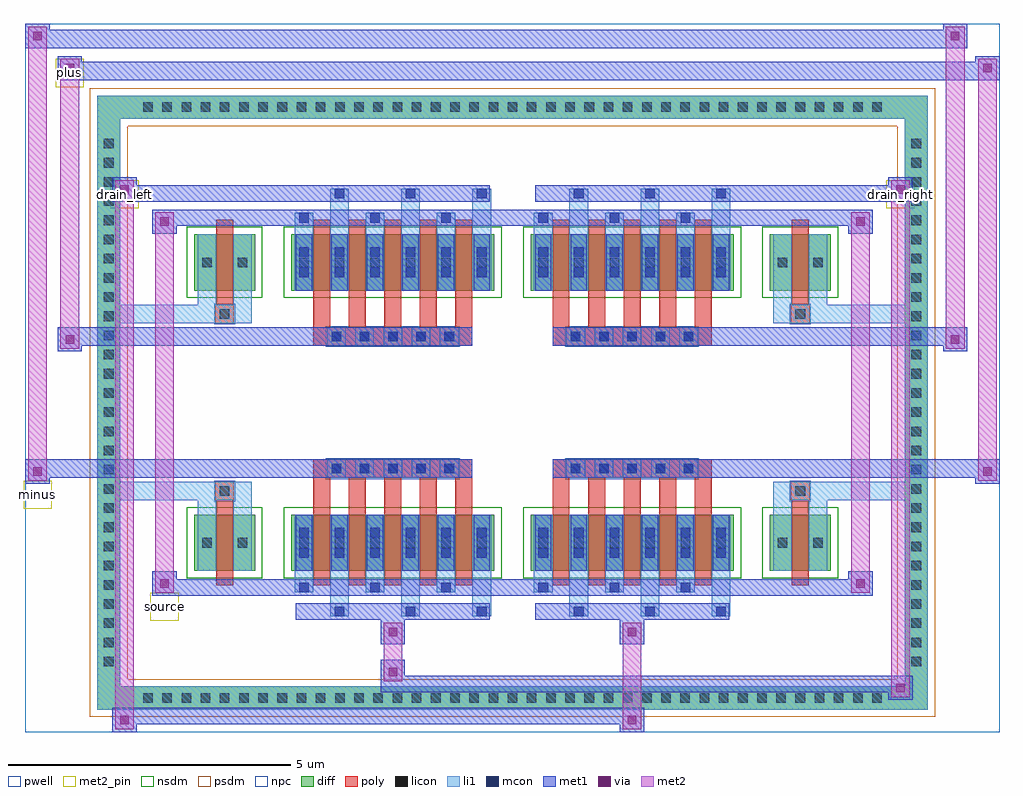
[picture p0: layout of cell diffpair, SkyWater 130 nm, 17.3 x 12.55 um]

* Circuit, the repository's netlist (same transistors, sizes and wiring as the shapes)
* NGSPICE file created from diffpair.ext - technology: sky130A

.subckt diffpair minus drain_right drain_left source plus
X0 drain_left plus source a_n1472_n1088# sky130_fd_pr__nfet_01v8 ad=0.165 pd=1.33 as=0.165 ps=1.33 w=1 l=0.3
X1 drain_right minus source a_n1472_n1088# sky130_fd_pr__nfet_01v8 ad=0.165 pd=1.33 as=0.165 ps=1.33 w=1 l=0.3
X2 a_n1472_n1088# a_n1472_n1088# a_n1472_n1088# a_n1472_n1088# sky130_fd_pr__nfet_01v8 ad=0.39 pd=2.78 as=3.12 ps=22.24 w=1 l=0.3
X3 drain_right minus source a_n1472_n1088# sky130_fd_pr__nfet_01v8 ad=0.165 pd=1.33 as=0.165 ps=1.33 w=1 l=0.3
X4 source plus drain_left a_n1472_n1088# sky130_fd_pr__nfet_01v8 ad=0.165 pd=1.33 as=0.165 ps=1.33 w=1 l=0.3
X5 drain_left plus source a_n1472_n1088# sky130_fd_pr__nfet_01v8 ad=0.39 pd=2.78 as=0.165 ps=1.33 w=1 l=0.3
X6 source minus drain_right a_n1472_n1088# sky130_fd_pr__nfet_01v8 ad=0.165 pd=1.33 as=0.165 ps=1.33 w=1 l=0.3
X7 drain_left plus source a_n1472_n1088# sky130_fd_pr__nfet_01v8 ad=0.39 pd=2.78 as=0.165 ps=1.33 w=1 l=0.3
X8 drain_right minus source a_n1472_n1088# sky130_fd_pr__nfet_01v8 ad=0.165 pd=1.33 as=0.39 ps=2.78 w=1 l=0.3
X9 drain_left plus source a_n1472_n1088# sky130_fd_pr__nfet_01v8 ad=0.165 pd=1.33 as=0.39 ps=2.78 w=1 l=0.3
X10 source plus drain_left a_n1472_n1088# sky130_fd_pr__nfet_01v8 ad=0.165 pd=1.33 as=0.165 ps=1.33 w=1 l=0.3
X11 a_n1472_n1088# a_n1472_n1088# a_n1472_n1088# a_n1472_n1088# sky130_fd_pr__nfet_01v8 ad=0.39 pd=2.78 as=0 ps=0 w=1 l=0.3
X12 drain_left plus source a_n1472_n1088# sky130_fd_pr__nfet_01v8 ad=0.165 pd=1.33 as=0.39 ps=2.78 w=1 l=0.3
X13 source minus drain_right a_n1472_n1088# sky130_fd_pr__nfet_01v8 ad=0.165 pd=1.33 as=0.165 ps=1.33 w=1 l=0.3
X14 a_n1472_n1088# a_n1472_n1088# a_n1472_n1088# a_n1472_n1088# sky130_fd_pr__nfet_01v8 ad=0.39 pd=2.78 as=0 ps=0 w=1 l=0.3
X15 a_n1472_n1088# a_n1472_n1088# a_n1472_n1088# a_n1472_n1088# sky130_fd_pr__nfet_01v8 ad=0.39 pd=2.78 as=0 ps=0 w=1 l=0.3
X16 drain_right minus source a_n1472_n1088# sky130_fd_pr__nfet_01v8 ad=0.165 pd=1.33 as=0.39 ps=2.78 w=1 l=0.3
X17 drain_right minus source a_n1472_n1088# sky130_fd_pr__nfet_01v8 ad=0.39 pd=2.78 as=0.165 ps=1.33 w=1 l=0.3
X18 source plus drain_left a_n1472_n1088# sky130_fd_pr__nfet_01v8 ad=0.165 pd=1.33 as=0.165 ps=1.33 w=1 l=0.3
X19 drain_left plus source a_n1472_n1088# sky130_fd_pr__nfet_01v8 ad=0.165 pd=1.33 as=0.165 ps=1.33 w=1 l=0.3
X20 source minus drain_right a_n1472_n1088# sky130_fd_pr__nfet_01v8 ad=0.165 pd=1.33 as=0.165 ps=1.33 w=1 l=0.3
X21 drain_right minus source a_n1472_n1088# sky130_fd_pr__nfet_01v8 ad=0.39 pd=2.78 as=0.165 ps=1.33 w=1 l=0.3
X22 source minus drain_right a_n1472_n1088# sky130_fd_pr__nfet_01v8 ad=0.165 pd=1.33 as=0.165 ps=1.33 w=1 l=0.3
X23 source plus drain_left a_n1472_n1088# sky130_fd_pr__nfet_01v8 ad=0.165 pd=1.33 as=0.165 ps=1.33 w=1 l=0.3
.ends

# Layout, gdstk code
import gdstk
lib = gdstk.Library(unit=1e-6, precision=5e-09)
def R(c, l, rs):  # rectangles x0, y0, x1, y1
    for r in rs: c.add(gdstk.rectangle(r[:2], r[2:], *l))
def A(c, l, x, y, w, h, nx, ny, dx, dy):  # array of equal rectangles
    R(c, l, [(x+i*dx, y+j*dy, x+i*dx+w, y+j*dy+h) for i in range(nx) for j in range(ny)])
def P(c, l, *ps):  # polygons
    for p in ps: c.add(gdstk.Polygon(p, *l))
pwell = (64, 44)
diff = (65, 20)
poly = (66, 20)
licon = (66, 44)
li1 = (67, 20)
mcon = (67, 44)
met1 = (68, 20)
via = (68, 44)
met2_pin = (69, 16)
met2 = (69, 20)
nsdm = (93, 44)
psdm = (94, 20)
npc = (95, 20)

diffpair = lib.new_cell('diffpair')
R(diffpair, pwell, [(-8.63,-5.84,8.63,6.71), (-5.95,-4.03,-0.01,-0.805), (0.01,-4.03,5.95,-0.805), (-5.95,0.805,-0.01,4.03), (0.01,0.805,5.95,4.03)])
A(diffpair, diff, -6.665, -5.44, 0.41, 0.41, 39, 2, 0.34, 10.47)
A(diffpair, diff, -7.36, -4.795, 0.41, 0.41, 1, 28, 0, 0.34)
A(diffpair, diff, 6.95, -4.795, 0.41, 0.41, 1, 28, 0, 0.34)
R(diffpair, diff, [(-6.665,-5.44,6.665,-5.03), (-7.36,-4.795,-6.95,4.795), (6.95,-4.795,7.36,4.795), (-5.64,-2.985,-4.56,-1.985), (-3.92,-2.985,-0.32,-1.985), (0.32,-2.985,3.92,-1.985), (4.56,-2.985,5.64,-1.985), (-5.64,1.985,-4.56,2.985), (-3.92,1.985,-0.32,2.985), (0.32,1.985,3.92,2.985), (4.56,1.985,5.64,2.985), (-6.665,5.03,6.665,5.44)])
P(diffpair, diff, [(7.36,5.44),(-7.36,5.44),(-7.36,-5.03),(-6.95,-5.03),(-6.95,5.03),(6.95,5.03),(6.95,-5.03),(-6.95,-5.03),(-7.36,-5.03),(-7.36,-5.44),(7.36,-5.44)])
A(diffpair, poly, -3.53, -3.235, 0.3, 1.5, 5, 2, 0.63, 4.97)
A(diffpair, poly, 0.71, -3.235, 0.3, 1.5, 5, 2, 0.63, 4.97)
A(diffpair, poly, -3.53, -1.735, 0.3, 0.4, 5, 2, 0.63, 3.07)
A(diffpair, poly, 0.71, -1.735, 0.3, 0.4, 5, 2, 0.63, 3.07)
A(diffpair, poly, -3.285, -1.335, 0.33, 0.33, 5, 2, 0.5, 2.34)
A(diffpair, poly, 0.955, -1.335, 0.33, 0.33, 5, 2, 0.5, 2.34)
R(diffpair, poly, [(-5.25,-3.235,-4.95,-1.735), (4.95,-3.235,5.25,-1.735), (-5.265,-1.735,-4.935,-1.405), (-5.265,-1.735,-4.935,-1.405), (4.935,-1.735,5.265,-1.405), (4.935,-1.735,5.265,-1.405), (-3.53,-1.335,-0.71,-1.005), (0.71,-1.335,3.53,-1.005), (-3.53,1.005,-0.71,1.335), (0.71,1.005,3.53,1.335), (-5.265,1.405,-4.935,1.735), (-5.265,1.405,-4.935,1.735), (4.935,1.405,5.265,1.735), (4.935,1.405,5.265,1.735), (-5.25,1.735,-4.95,3.235), (4.95,1.735,5.25,3.235)])
A(diffpair, licon, -6.545, -5.32, 0.17, 0.17, 39, 2, 0.34, 10.47)
A(diffpair, licon, -7.24, -4.675, 0.17, 0.17, 1, 28, 0, 0.34)
A(diffpair, licon, 7.07, -4.675, 0.17, 0.17, 1, 28, 0, 0.34)
A(diffpair, licon, -3.78, -2.57, 0.17, 0.17, 6, 2, 0.63, 4.97)
A(diffpair, licon, 0.46, -2.57, 0.17, 0.17, 6, 2, 0.63, 4.97)
A(diffpair, licon, -3.205, -1.255, 0.17, 0.17, 5, 2, 0.5, 2.34)
A(diffpair, licon, 1.035, -1.255, 0.17, 0.17, 5, 2, 0.5, 2.34)
R(diffpair, licon, [(-5.5,-2.57,-5.33,-2.4), (-4.87,-2.57,-4.7,-2.4), (4.7,-2.57,4.87,-2.4), (5.33,-2.57,5.5,-2.4), (-5.185,-1.655,-5.015,-1.485), (5.015,-1.655,5.185,-1.485), (-5.185,1.485,-5.015,1.655), (5.015,1.485,5.185,1.655), (-5.5,2.4,-5.33,2.57), (-4.87,2.4,-4.7,2.57), (4.7,2.4,4.87,2.57), (5.33,2.4,5.5,2.57)])
A(diffpair, li1, -6.625, -5.4, 0.33, 0.33, 39, 2, 0.34, 10.47)
A(diffpair, li1, -7.32, -4.755, 0.33, 0.33, 1, 28, 0, 0.34)
A(diffpair, li1, 6.99, -4.755, 0.33, 0.33, 1, 28, 0, 0.34)
A(diffpair, li1, -3.23, -3.79, 0.33, 0.805, 3, 2, 1.26, 6.775)
A(diffpair, li1, -3.15, -3.79, 0.17, 0.17, 3, 2, 1.26, 7.41)
A(diffpair, li1, 1.01, -3.79, 0.33, 0.805, 3, 2, 1.26, 6.775)
A(diffpair, li1, 1.09, -3.79, 0.17, 0.17, 3, 2, 1.26, 7.41)
A(diffpair, li1, -3.86, -3.36, 0.33, 0.375, 3, 2, 1.26, 6.345)
A(diffpair, li1, -3.78, -3.36, 0.17, 0.17, 3, 2, 1.26, 6.55)
A(diffpair, li1, 0.38, -3.36, 0.33, 0.375, 3, 2, 1.26, 6.345)
A(diffpair, li1, 0.46, -3.36, 0.17, 0.17, 3, 2, 1.26, 6.55)
A(diffpair, li1, -3.86, -2.985, 0.33, 1, 6, 2, 0.63, 4.97)
A(diffpair, li1, 0.38, -2.985, 0.33, 1, 6, 2, 0.63, 4.97)
A(diffpair, li1, -3.78, -2.75, 0.17, 0.17, 6, 2, 0.63, 0.36)
A(diffpair, li1, -3.78, -2.75, 0.17, 0.53, 6, 2, 0.63, 4.97)
A(diffpair, li1, 0.46, -2.75, 0.17, 0.17, 6, 2, 0.63, 0.36)
A(diffpair, li1, 0.46, -2.75, 0.17, 0.53, 6, 2, 0.63, 4.97)
A(diffpair, li1, -3.86, -2.65, 0.33, 0.33, 6, 2, 0.63, 4.97)
A(diffpair, li1, 0.38, -2.65, 0.33, 0.33, 6, 2, 0.63, 4.97)
A(diffpair, li1, -3.285, -1.335, 0.33, 0.33, 5, 2, 0.5, 2.34)
A(diffpair, li1, 0.955, -1.335, 0.33, 0.33, 5, 2, 0.5, 2.34)
A(diffpair, li1, -3.78, 2.22, 0.17, 0.17, 6, 2, 0.63, 0.36)
A(diffpair, li1, 0.46, 2.22, 0.17, 0.17, 6, 2, 0.63, 0.36)
R(diffpair, li1, [(-7.36,-5.44,-6.95,-5.03), (-7.36,-5.44,-6.95,-5.03), (-6.95,-5.44,6.95,-5.03), (6.95,-5.44,7.36,-5.03), (6.95,-5.44,7.36,-5.03), (-7.36,-5.03,-6.95,5.03), (6.95,-5.03,7.36,5.03), (-5.58,-2.985,-5.25,-1.985), (-4.95,-2.985,-4.62,-1.985), (4.62,-2.985,4.95,-1.985), (5.25,-2.985,5.58,-1.985), (-5.58,-2.65,-5.25,-2.32), (-4.95,-2.65,-4.62,-2.32), (4.62,-2.65,4.95,-2.32), (5.25,-2.65,5.58,-2.32), (-5.58,-1.985,-5.25,-1.405), (-4.95,-1.985,-4.62,-1.405), (4.62,-1.985,4.95,-1.405), (5.25,-1.985,5.58,-1.405), (-7.36,-1.735,-5.265,-1.405), (-5.58,-1.735,-5.265,-1.405), (-5.265,-1.735,-4.935,-1.405), (-4.935,-1.735,-4.62,-1.405), (4.62,-1.735,4.935,-1.405), (4.935,-1.735,5.265,-1.405), (4.935,-1.735,7.36,-1.405), (5.265,-1.735,5.58,-1.405), (-7.36,1.405,-5.265,1.735), (-5.58,1.405,-5.265,1.735), (-5.58,1.405,-5.25,1.985), (-5.265,1.405,-4.935,1.735), (-4.95,1.405,-4.62,1.985), (-4.935,1.405,-4.62,1.735), (4.62,1.405,4.935,1.735), (4.62,1.405,4.95,1.985), (4.935,1.405,5.265,1.735), (4.935,1.405,7.36,1.735), (5.25,1.405,5.58,1.985), (5.265,1.405,5.58,1.735), (-5.58,1.985,-5.25,2.985), (-4.95,1.985,-4.62,2.985), (4.62,1.985,4.95,2.985), (5.25,1.985,5.58,2.985), (-5.58,2.32,-5.25,2.65), (-4.95,2.32,-4.62,2.65), (4.62,2.32,4.95,2.65), (5.25,2.32,5.58,2.65), (-7.36,5.03,-6.95,5.44), (-7.36,5.03,-6.95,5.44), (-6.95,5.03,6.95,5.44), (6.95,5.03,7.36,5.44), (6.95,5.03,7.36,5.44)])
A(diffpair, mcon, -3.15, -3.79, 0.17, 0.17, 3, 2, 1.26, 7.41)
A(diffpair, mcon, 1.09, -3.79, 0.17, 0.17, 3, 2, 1.26, 7.41)
A(diffpair, mcon, -3.78, -3.36, 0.17, 0.17, 3, 2, 1.26, 6.55)
A(diffpair, mcon, 0.46, -3.36, 0.17, 0.17, 3, 2, 1.26, 6.55)
A(diffpair, mcon, -3.78, -2.75, 0.17, 0.17, 6, 2, 0.63, 0.36)
A(diffpair, mcon, 0.46, -2.75, 0.17, 0.17, 6, 2, 0.63, 0.36)
A(diffpair, mcon, -3.205, -1.255, 0.17, 0.17, 5, 2, 0.5, 2.34)
A(diffpair, mcon, 1.035, -1.255, 0.17, 0.17, 5, 2, 0.5, 2.34)
A(diffpair, mcon, -3.78, 2.22, 0.17, 0.17, 6, 2, 0.63, 0.36)
A(diffpair, mcon, 0.46, 2.22, 0.17, 0.17, 6, 2, 0.63, 0.36)
A(diffpair, met1, -3.21, -3.85, 0.29, 0.29, 3, 2, 1.26, 7.41)
A(diffpair, met1, 1.03, -3.85, 0.29, 0.29, 3, 2, 1.26, 7.41)
A(diffpair, met1, -3.84, -3.42, 0.29, 0.29, 3, 2, 1.26, 6.55)
A(diffpair, met1, 0.4, -3.42, 0.29, 0.29, 3, 2, 1.26, 6.55)
A(diffpair, met1, -3.84, -2.985, 0.29, 1, 6, 2, 0.63, 4.97)
A(diffpair, met1, 0.4, -2.985, 0.29, 1, 6, 2, 0.63, 4.97)
A(diffpair, met1, -3.84, -2.81, 0.29, 0.29, 6, 2, 0.63, 0.36)
A(diffpair, met1, 0.4, -2.81, 0.29, 0.29, 6, 2, 0.63, 0.36)
A(diffpair, met1, -3.265, -1.315, 0.29, 0.29, 5, 2, 0.5, 2.34)
A(diffpair, met1, 0.975, -1.315, 0.29, 0.29, 5, 2, 0.5, 2.34)
A(diffpair, met1, -3.84, 2.16, 0.29, 0.29, 6, 2, 0.63, 0.36)
A(diffpair, met1, 0.4, 2.16, 0.29, 0.29, 6, 2, 0.63, 0.36)
R(diffpair, met1, [(-7.09,-5.84,-6.66,-5.41), (1.905,-5.84,2.335,-5.41), (-7.09,-5.7,2.335,-5.41), (6.66,-5.27,7.09,-4.84), (-2.335,-5.13,7.09,-4.84), (-2.335,-4.99,-1.905,-4.56), (-2.335,-4.28,-1.905,-3.85), (1.905,-4.28,2.335,-3.85), (-3.84,-3.85,-0.4,-3.56), (0.4,-3.85,3.84,-3.56), (-6.38,-3.42,-5.95,-2.99), (-6.38,-3.42,-3.84,-3.13), (-3.84,-3.42,-0.4,-3.13), (-0.4,-3.42,0.4,-3.13), (0.4,-3.42,3.84,-3.13), (3.84,-3.42,6.38,-3.13), (5.95,-3.42,6.38,-2.99), (-8.63,-1.435,-8.2,-1.005), (8.2,-1.435,8.63,-1.005), (-8.63,-1.335,-0.71,-1.005), (-3.53,-1.335,-0.71,-1.005), (0.71,-1.335,3.53,-1.005), (0.71,-1.335,8.63,-1.005), (-8.06,0.905,-7.63,1.335), (7.63,0.905,8.06,1.335), (-8.06,1.005,-3.53,1.335), (-3.53,1.005,-0.71,1.335), (0.71,1.005,3.53,1.335), (3.53,1.005,8.06,1.335), (-6.38,2.99,-5.95,3.42), (5.95,2.99,6.38,3.42), (-6.38,3.13,-3.84,3.42), (-3.84,3.13,-0.4,3.42), (-0.4,3.13,0.4,3.42), (0.4,3.13,3.84,3.42), (3.84,3.13,6.38,3.42), (-7.09,3.56,-6.66,3.99), (-7.09,3.56,-3.84,3.85), (-3.84,3.56,-0.4,3.85), (0.4,3.56,3.84,3.85), (3.84,3.56,7.09,3.85), (6.66,3.56,7.09,3.99), (-8.06,5.71,-7.63,6.14), (-8.06,5.71,-5.95,6.04), (-5.95,5.71,5.95,6.04), (5.95,5.71,8.63,6.04), (8.2,5.71,8.63,6.14), (-8.63,6.28,-8.2,6.71), (-8.63,6.28,-5.95,6.61), (-5.95,6.28,5.95,6.61), (5.95,6.28,8.06,6.61), (7.63,6.28,8.06,6.71)])
R(diffpair, via, [(-6.95,-5.7,-6.8,-5.55), (2.045,-5.7,2.195,-5.55), (6.8,-5.13,6.95,-4.98), (-2.195,-4.85,-2.045,-4.7), (-2.195,-4.14,-2.045,-3.99), (2.045,-4.14,2.195,-3.99), (-6.24,-3.28,-6.09,-3.13), (6.09,-3.28,6.24,-3.13), (-8.49,-1.295,-8.34,-1.145), (8.34,-1.295,8.49,-1.145), (-7.92,1.045,-7.77,1.195), (7.77,1.045,7.92,1.195), (-6.24,3.13,-6.09,3.28), (6.09,3.13,6.24,3.28), (-6.95,3.7,-6.8,3.85), (6.8,3.7,6.95,3.85), (-7.92,5.85,-7.77,6), (8.34,5.85,8.49,6), (-8.49,6.42,-8.34,6.57), (7.77,6.42,7.92,6.57)])
R(diffpair, met2_pin, [(-6.415,-3.87,-5.915,-3.37), (-8.665,-1.885,-8.165,-1.385), (-7.125,3.44,-6.625,3.94), (6.625,3.44,7.125,3.94), (-8.095,5.59,-7.595,6.09)])
R(diffpair, met2, [(-7.04,-5.79,-6.71,-5.46), (-7.04,-5.79,-6.71,3.94), (1.955,-5.79,2.285,-5.46), (1.955,-5.46,2.285,-4.23), (6.71,-5.22,7.04,-4.89), (6.71,-5.22,7.04,3.94), (-2.285,-4.94,-1.955,-4.61), (-2.285,-4.61,-1.955,-4.23), (-2.285,-4.23,-1.955,-3.9), (1.955,-4.23,2.285,-3.9), (-6.33,-3.37,-6,-3.04), (-6.33,-3.37,-6,3.37), (6,-3.37,6.33,-3.04), (6,-3.37,6.33,3.37), (-8.58,-1.385,-8.25,-1.055), (-8.58,-1.385,-8.25,6.66), (8.25,-1.385,8.58,-1.055), (8.25,-1.385,8.58,6.09), (-8.01,0.955,-7.68,1.285), (-8.01,0.955,-7.68,6.09), (7.68,0.955,8.01,1.285), (7.68,0.955,8.01,6.66), (-6.33,3.04,-6,3.37), (6,3.04,6.33,3.37), (-7.04,3.61,-6.71,3.94), (6.71,3.61,7.04,3.94), (-8.01,5.76,-7.68,6.09), (8.25,5.76,8.58,6.09), (-8.58,6.33,-8.25,6.66), (7.68,6.33,8.01,6.66)])
P(diffpair, met2, [(8.58,-1.385),(8.58,-1.385),(8.58,-1.055),(8.58,-1.055)],
  [(8.58,5.76),(8.58,5.76),(8.58,6.09),(8.58,6.09)],
  [(-8.25,-1.385),(-8.25,-1.385),(-8.25,-1.055),(-8.25,-1.055)],
  [(-8.25,6.33),(-8.25,6.33),(-8.25,6.66),(-8.25,6.66)],
  [(8.01,0.955),(8.01,0.955),(8.01,1.285),(8.01,1.285)],
  [(8.01,6.33),(8.01,6.33),(8.01,6.66),(8.01,6.66)],
  [(-7.68,0.955),(-7.68,0.955),(-7.68,1.285),(-7.68,1.285)],
  [(-7.68,5.76),(-7.68,5.76),(-7.68,6.09),(-7.68,6.09)],
  [(-6.71,-5.79),(-6.71,-5.79),(-6.71,-5.46),(-6.71,-5.46)],
  [(-6.71,3.61),(-6.71,3.61),(-6.71,3.94),(-6.71,3.94)],
  [(7.04,-5.22),(7.04,-5.22),(7.04,-4.89),(7.04,-4.89)],
  [(7.04,3.61),(7.04,3.61),(7.04,3.94),(7.04,3.94)],
  [(-6,-3.37),(-6,-3.37),(-6,-3.04),(-6,-3.04)],
  [(-6,3.04),(-6,3.04),(-6,3.37),(-6,3.37)],
  [(6.33,-3.37),(6.33,-3.37),(6.33,-3.04),(6.33,-3.04)],
  [(6.33,3.04),(6.33,3.04),(6.33,3.37),(6.33,3.37)])
R(diffpair, nsdm, [(-5.77,-3.115,-4.43,-1.855), (-4.05,-3.115,-0.19,-1.855), (0.19,-3.115,4.05,-1.855), (4.43,-3.115,5.77,-1.855), (-5.77,1.855,-4.43,3.115), (-4.05,1.855,-0.19,3.115), (0.19,1.855,4.05,3.115), (4.43,1.855,5.77,3.115)])
P(diffpair, psdm, [(7.49,5.57),(-7.49,5.57),(-7.49,-4.9),(-6.82,-4.9),(-6.82,4.9),(6.82,4.9),(6.82,-4.9),(-6.82,-4.9),(-7.49,-4.9),(-7.49,-5.57),(7.49,-5.57)])
A(diffpair, npc, -3.305, -1.355, 0.37, 0.37, 5, 2, 0.5, 2.34)
A(diffpair, npc, 0.935, -1.355, 0.37, 0.37, 5, 2, 0.5, 2.34)
R(diffpair, npc, [(-5.285,-1.755,-4.915,-1.385), (4.915,-1.755,5.285,-1.385), (-3.305,-1.355,-2.435,-0.985), (-3.305,-1.355,-2.435,-0.985), (-2.805,-1.355,-1.935,-0.985), (-2.805,-1.355,-1.935,-0.985), (-2.305,-1.355,-1.435,-0.985), (-2.305,-1.355,-1.435,-0.985), (-1.805,-1.355,-0.935,-0.985), (-1.805,-1.355,-0.935,-0.985), (0.935,-1.355,1.805,-0.985), (0.935,-1.355,1.805,-0.985), (1.435,-1.355,2.305,-0.985), (1.435,-1.355,2.305,-0.985), (1.935,-1.355,2.805,-0.985), (1.935,-1.355,2.805,-0.985), (2.435,-1.355,3.305,-0.985), (2.435,-1.355,3.305,-0.985), (-3.305,0.985,-2.435,1.355), (-3.305,0.985,-2.435,1.355), (-2.805,0.985,-1.935,1.355), (-2.805,0.985,-1.935,1.355), (-2.305,0.985,-1.435,1.355), (-2.305,0.985,-1.435,1.355), (-1.805,0.985,-0.935,1.355), (-1.805,0.985,-0.935,1.355), (0.935,0.985,1.805,1.355), (0.935,0.985,1.805,1.355), (1.435,0.985,2.305,1.355), (1.435,0.985,2.305,1.355), (1.935,0.985,2.805,1.355), (1.935,0.985,2.805,1.355), (2.435,0.985,3.305,1.355), (2.435,0.985,3.305,1.355), (-5.285,1.385,-4.915,1.755), (4.915,1.385,5.285,1.755)])
diffpair.add(gdstk.Label('minus', (-8.415,-1.635), layer=69, texttype=5))
diffpair.add(gdstk.Label('drain_right', (6.875,3.69), layer=69, texttype=5))
diffpair.add(gdstk.Label('drain_left', (-6.875,3.69), layer=69, texttype=5))
diffpair.add(gdstk.Label('source', (-6.165,-3.62), layer=69, texttype=5))
diffpair.add(gdstk.Label('plus', (-7.845,5.84), layer=69, texttype=5))

lib.write_gds('diffpair.gds')
